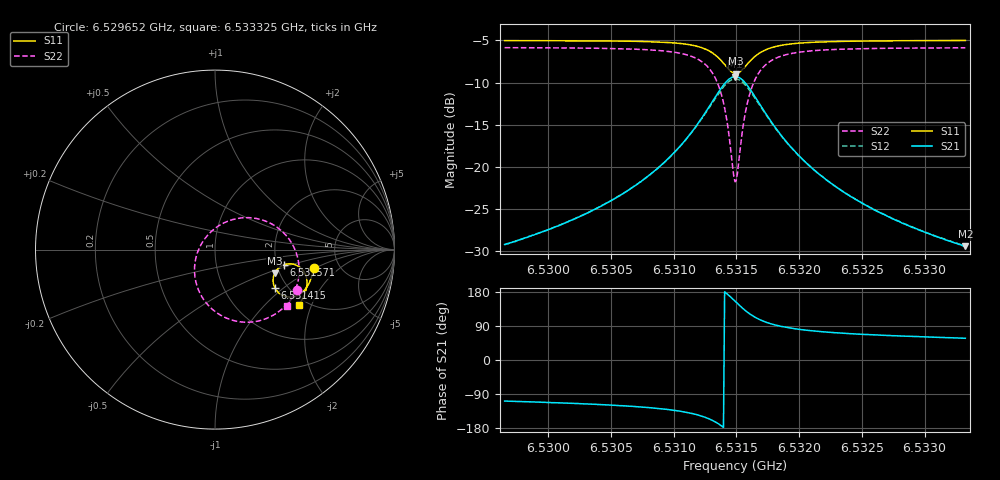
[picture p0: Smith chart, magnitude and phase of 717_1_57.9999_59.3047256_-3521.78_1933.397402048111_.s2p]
#  HZ  S  RI  R  50.00
! Rohde & Schwarz Vector Network Analyzer
! Rohde-Schwarz,ZNB20-2Port,1311601062101988,3.16
! Created: UTC 3/21/2024, 1:22:25 AM
! freq[Hz]  re:S11  im:S11  re:S21  im:S21  re:S12  im:S12  re:S22  im:S22
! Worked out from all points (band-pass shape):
!   401 points, 6.529652 GHz to 6.533325 GHz, reference 50 ohm
!   highest |S21| = -9.29 dB at 6.531489 GHz (marker M1); lowest = -29.4 dB at 6.533325 GHz (marker M2)
!   |S21| within 3 dB of the highest: 6.531307 GHz to 6.531674 GHz (367.5 kHz wide, 0.00563 % of centre)
!   lowest |S11| = -8.9 dB at 6.531498 GHz (marker M3), VSWR 2.11, Z = 94 - j28.6 ohm
!   |S11| at or under -10 dB: nowhere
!   |S22| runs from -21.8 to -5.9 dB; largest |S21 - S12| = 0.014
!   S11 on the Smith chart (normalised r, x): 6.529652 GHz: 3.23, -0.97; 6.531415 GHz: 1.72, -0.88; 6.531571 GHz: 2.19, -0.44; 6.533325 GHz: 1.82, -1.64
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6.5296521e9  0.5505 -0.1035  -0.0109 -0.0329  -0.0117 -0.0326  0.4575 -0.2227
6.5302674e9  0.5369 -0.1556  -0.0222 -0.0464  -0.0234 -0.046  0.4208 -0.2808
6.5305888e9  0.5243 -0.1864  -0.0351 -0.0595  -0.0369 -0.0584  0.3863 -0.3192
6.5308827e9  0.5039 -0.2195  -0.0615 -0.0786  -0.0638 -0.0766  0.3273 -0.3643
6.5311031e9  0.4713 -0.2491  -0.1097 -0.0984  -0.1126 -0.0941  0.2309 -0.3999
6.5312592e9  0.4204 -0.2645  -0.1891 -0.0993  -0.1908 -0.091  0.0877 -0.3906
6.531351e9  0.3701 -0.2516  -0.2663 -0.0607  -0.2634 -0.0493  -0.038 -0.3097
6.5313878e9  0.3481 -0.2341  -0.2983 -0.024  -0.2921 -0.0124  -0.0841 -0.242
6.5314153e9  0.3342 -0.2144  -0.317 0.0138  -0.3079 0.0244  -0.1074 -0.1754
6.5314704e9  0.3243 -0.1609  -0.3226 0.1102  -0.3093 0.1153  -0.0979 -0.0167
6.5314888e9  0.3285 -0.1417  -0.3118 0.1432  -0.2982 0.1458  -0.0738 0.035
6.531498e9  0.3322 -0.1327  -0.3039 0.159  -0.2904 0.1602  -0.0581 0.059
6.5315163e9  0.342 -0.116  -0.2838 0.1872  -0.2712 0.1863  -0.0202 0.1012
6.5315714e9  0.3856 -0.0845  -0.2039 0.2393  -0.1958 0.2347  0.1197 0.1725
6.531599e9  0.4087 -0.0794  -0.1631 0.2468  -0.1571 0.242  0.1885 0.178
6.5316357e9  0.436 -0.0813  -0.1156 0.2435  -0.1119 0.2392  0.2674 0.164
6.5317276e9  0.4809 -0.1052  -0.0393 0.2066  -0.0378 0.2044  0.3902 0.0854
6.5318653e9  0.5064 -0.1451  0.00481 0.1509  0.00618 0.1501  0.4549 -0.0253
6.5321041e9  0.5123 -0.1925  0.0221 0.0957  0.0233 0.0954  0.4681 -0.1375
6.5323888e9  0.5056 -0.2293  0.0236 0.0642  0.0246 0.064  0.4544 -0.2076
6.5327194e9  0.4939 -0.2614  0.0215 0.0455  0.0226 0.0452  0.4344 -0.2569
6.5333255e9  0.4692 -0.3083  0.0183 0.0286  0.0188 0.0282  0.3991 -0.3144
